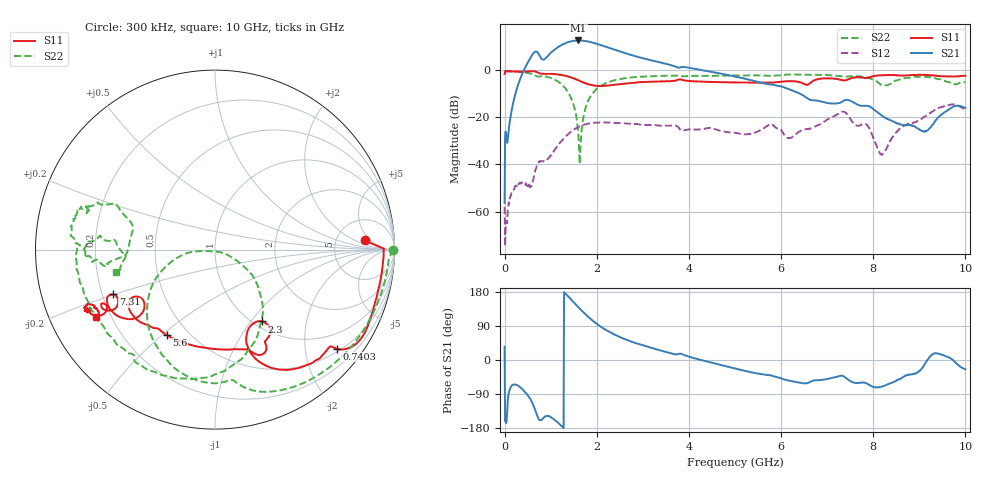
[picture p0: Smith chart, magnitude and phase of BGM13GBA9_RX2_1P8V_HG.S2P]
!Agilent Technologies,E5071C,MY46316587,B.13.01
!Date: Wed Dec 06 10:54:06 2017
!Data & Calibration Information:
!Freq	S11:SOLT2(ON)	S21:SOLT2(ON)	S12:SOLT2(ON)	S22:SOLT2(ON)
!PortZ  Port1:50+j0  Port2:50+j0
!Above PortZ is port z conversion or system Z0 setting when saving the data.
!When reading, reference impedance value at option line is always used.
# Hz S RI R 50
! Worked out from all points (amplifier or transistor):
!   1001 points, 300 kHz to 10 GHz, reference 50 ohm
!   highest |S21| = 12.6 dB at 1.6 GHz (marker M1)
!   |S21| within 3 dB of that: 1.148 GHz to 2.248 GHz (1.1 GHz wide, 64.8 % of centre)
!   unconditionally stable (mu >= 1): start of sweep to end of sweep
!   at 1.66 GHz: K = 1.30, MAG = 14.8 dB, |S12| = -23.6 dB
!   at 5 GHz: K = 4.24, MAG = 2.7 dB, |S12| = -26.5 dB
!   at 10 GHz: K = 5.93, MAG = -10.4 dB, |S12| = -16.7 dB
!   lowest NFmin = 0.67 dB at 1.6 GHz
!   S11 on the Smith chart (normalised r, x): 300 kHz: 10, +3; 740.3 MHz: 0.58, -2.71; 2.3 GHz: 1.10, -1.14; 5.6 GHz: 0.38, -0.52; 7.31 GHz: 0.25, -0.20; 10 GHz: 0.14, -0.26
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300000  0.8334 0.0514  0.00124 0.000883  0.00074 -0.00101  0.9933 -0.000127
6.02982e7  0.9387 -0.0431  -0.0167 -0.0234  -0.00035 0.00067  0.9552 -0.1353
1.702949e8  0.9291 -0.129  0.0701 -0.1569  0.000299 0.00274  0.883 -0.3492
4.502865e8  0.8816 -0.3345  0.0975 -1.147  0.000893 0.0036  0.512 -0.7342
6.202814e8  0.8165 -0.4915  -1.061 -1.989  -0.00322 0.00336  0.2049 -0.7829
7.402778e8  0.6785 -0.5513  -1.998 -0.8936  -0.00643 0.00909  0.0864 -0.727
9.00273e8  0.6234 -0.5597  -1.551 -0.97  -0.00611 0.0106  -0.1158 -0.7219
1.160265e9  0.4832 -0.6535  -2.991 -0.7804  -0.0165 0.0193  -0.3681 -0.44
1.390258e9  0.3146 -0.6595  -3.863 0.9243  -0.0206 0.0402  -0.3011 -0.123
1.600252e9  0.2007 -0.5793  -3.251 2.779  -0.00944 0.0618  -0.0423 -0.00764
1.67025e9  0.1819 -0.5417  -2.774 3.23  -0.00258 0.067  0.0468 -0.0201
1.920242e9  0.1892 -0.4368  -0.8553 3.734  0.0237 0.0725  0.2449 -0.2242
2.300231e9  0.2629 -0.4001  0.8773 2.77  0.0492 0.0599  0.1995 -0.5419
3.3402e9  0.2905 -0.4974  1.333 0.6673  0.0608 0.0286  -0.2806 -0.7023
5.00015e9  -0.056 -0.5469  0.6827 -0.2808  0.0444 0.0157  -0.733 -0.2272
5.600132e9  -0.2701 -0.4752  0.4212 -0.3282  0.044 0.0362  -0.7709 -0.0108
6.6701e9  -0.4303 -0.3757  0.1303 -0.1905  0.0387 0.0452  -0.7764 0.1935
7.310081e9  -0.5656 -0.2495  0.158 -0.1387  0.1192 0.0516  -0.7091 0.227
8.170055e9  -0.6943 -0.3548  0.0366 -0.1054  0.0154 0.00483  -0.4653 0.1468
8.34005e9  -0.7115 -0.3369  0.041 -0.0792  0.00877 0.0266  -0.4937 -0.0233
9.120026e9  -0.7261 -0.3259  0.0499 -0.0092  0.0381 0.0967  -0.7328 0.00312
1e10  -0.6649 -0.3766  0.1439 -0.0661  0.1449 0.015  -0.5522 -0.124
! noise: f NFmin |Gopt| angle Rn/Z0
1.1e+09  0.7587  0.5592  35.11  0.2637
1.15e+09  0.7427  0.549  36.52  0.2545
1.2e+09  0.7308  0.5416  37.72  0.2471
1.3e+09  0.726  0.5324  39.65  0.2372
1.35e+09  0.7178  0.5142  42.01  0.2282
1.4e+09  0.7088  0.5208  43.21  0.2298
1.5e+09  0.6717  0.5089  44.09  0.2225
1.55e+09  0.6707  0.5034  45.24  0.2229
1.6e+09  0.67  0.5015  47.06  0.2183
1.7e+09  0.6836  0.5087  49.67  0.2185
